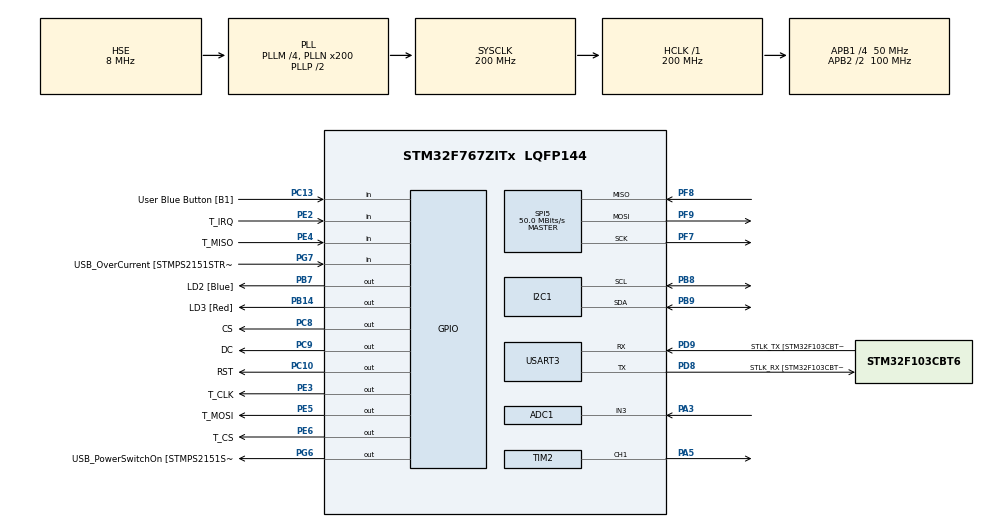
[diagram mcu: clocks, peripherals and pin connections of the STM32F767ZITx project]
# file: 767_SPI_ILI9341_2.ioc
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ADC1.Channel-0\#ChannelRegularConversion=ADC_CHANNEL_3
ADC1.ContinuousConvMode=ENABLE
ADC1.DMAContinuousRequests=ENABLE
ADC1.NbrOfConversionFlag=1
ADC1.Rank-0\#ChannelRegularConversion=1
ADC1.SamplingTime-0\#ChannelRegularConversion=ADC_SAMPLETIME_480CYCLES
ADC1.ScanConvMode=ADC_SCAN_ENABLE
ADC1.master=1
CORTEX_M7.ART_ACCLERATOR_ENABLE=1
CORTEX_M7.CPU_DCache=Enabled
CORTEX_M7.CPU_ICache=Enabled
CORTEX_M7.PREFETCH_ENABLE=1
Dma.ADC1.0.Direction=DMA_PERIPH_TO_MEMORY
Dma.ADC1.0.FIFOMode=DMA_FIFOMODE_DISABLE
Dma.ADC1.0.Instance=DMA2_Stream0
Dma.ADC1.0.MemDataAlignment=DMA_MDATAALIGN_HALFWORD
Dma.ADC1.0.MemInc=DMA_MINC_ENABLE
Dma.ADC1.0.Mode=DMA_CIRCULAR
Dma.ADC1.0.PeriphDataAlignment=DMA_PDATAALIGN_HALFWORD
Dma.ADC1.0.PeriphInc=DMA_PINC_DISABLE
Dma.ADC1.0.Priority=DMA_PRIORITY_LOW
Dma.Request0=ADC1
Dma.Request1=TIM2_CH1
Dma.TIM2_CH1.1.Direction=DMA_PERIPH_TO_MEMORY
Dma.TIM2_CH1.1.FIFOMode=DMA_FIFOMODE_DISABLE
Dma.TIM2_CH1.1.Instance=DMA1_Stream5
Dma.TIM2_CH1.1.MemDataAlignment=DMA_MDATAALIGN_WORD
Dma.TIM2_CH1.1.MemInc=DMA_MINC_ENABLE
Dma.TIM2_CH1.1.Mode=DMA_NORMAL
Dma.TIM2_CH1.1.PeriphDataAlignment=DMA_PDATAALIGN_WORD
Dma.TIM2_CH1.1.PeriphInc=DMA_PINC_DISABLE
Dma.TIM2_CH1.1.Priority=DMA_PRIORITY_LOW
I2C1.Timing=0x00C0EAFF
Mcu.Family=STM32F7
Mcu.Name=STM32F767ZITx
Mcu.Package=LQFP144
NVIC.ADC_IRQn=true\:1\:0\:true\:false\:true\:true\:true\:true
NVIC.DMA1_Stream5_IRQn=true\:0\:0\:false\:false\:true\:false\:true\:true
NVIC.DMA2_Stream0_IRQn=true\:0\:0\:false\:false\:true\:false\:true\:true
NVIC.PriorityGroup=NVIC_PRIORITYGROUP_2
NVIC.TIM1_UP_TIM10_IRQn=true\:1\:0\:true\:false\:true\:true\:true\:true
NVIC.TIM2_IRQn=true\:1\:0\:true\:false\:true\:true\:true\:true
PA1.GPIO_Label=RMII_REF_CLK [LAN8742A-CZ-TR_REFCLK0]
PA1.Signal=ETH_REF_CLK
PA13.GPIO_Label=TMS
PA13.Mode=Serial_Wire
PA13.Signal=SYS_JTMS-SWDIO
PA14.GPIO_Label=TCK
PA14.Mode=Serial_Wire
PA14.Signal=SYS_JTCK-SWCLK
PA2.GPIO_Label=RMII_MDIO [LAN8742A-CZ-TR_MDIO]
PA2.Signal=ETH_MDIO
PA3.Signal=ADCx_IN3
PA5.GPIO_Speed=GPIO_SPEED_FREQ_VERY_HIGH
PA5.Signal=S_TIM2_CH1_ETR
PA7.GPIO_Label=RMII_CRS_DV [LAN8742A-CZ-TR_CRS_DV]
PA7.Signal=ETH_CRS_DV
PB13.GPIO_Label=RMII_TXD1 [LAN8742A-CZ-TR_TXD1]
PB13.Signal=ETH_TXD1
PB14.GPIO_Label=LD3 [Red]
PB14.Signal=GPIO_Output
PB3.GPIO_Label=SWO
PB3.Signal=SYS_JTDO-SWO
PB7.GPIO_Label=LD2 [Blue]
PB7.Signal=GPIO_Output
PB8.Mode=I2C
PB8.Signal=I2C1_SCL
PB9.Mode=I2C
PB9.Signal=I2C1_SDA
PC1.GPIO_Label=RMII_MDC [LAN8742A-CZ-TR_MDC]
PC1.Signal=ETH_MDC
PC10.GPIO_Label=RST
PC10.GPIO_Speed=GPIO_SPEED_FREQ_VERY_HIGH
PC10.Signal=GPIO_Output
PC13.GPIO_Label=User Blue Button [B1]
PC13.Signal=GPIO_Input
PC14/OSC32_IN.Mode=LSE-External-Oscillator
PC14/OSC32_IN.Signal=RCC_OSC32_IN
PC15/OSC32_OUT.Mode=LSE-External-Oscillator
PC15/OSC32_OUT.Signal=RCC_OSC32_OUT
PC4.GPIO_Label=RMII_RXD0 [LAN8742A-CZ-TR_RXD0]
PC4.Signal=ETH_RXD0
PC5.GPIO_Label=RMII_RXD1 [LAN8742A-CZ-TR_RXD1]
PC5.Signal=ETH_RXD1
PC8.GPIO_Label=CS
PC8.GPIO_Speed=GPIO_SPEED_FREQ_VERY_HIGH
PC8.Signal=GPIO_Output
PC9.GPIO_Label=DC
PC9.GPIO_Speed=GPIO_SPEED_FREQ_VERY_HIGH
PC9.Signal=GPIO_Output
PD8.GPIO_Label=STLK_RX [STM32F103CBT6_PA3]
PD8.Mode=Asynchronous
PD8.Signal=USART3_TX
PD9.GPIO_Label=STLK_TX [STM32F103CBT6_PA2]
PD9.Mode=Asynchronous
PD9.Signal=USART3_RX
PE2.GPIO_Label=T_IRQ
PE2.Signal=GPIO_Input
PE3.GPIO_Label=T_CLK
PE3.GPIO_Speed=GPIO_SPEED_FREQ_VERY_HIGH
PE3.Signal=GPIO_Output
PE4.GPIO_Label=T_MISO
PE4.Signal=GPIO_Input
PE5.GPIO_Label=T_MOSI
PE5.GPIO_Speed=GPIO_SPEED_FREQ_VERY_HIGH
PE5.Signal=GPIO_Output
PE6.GPIO_Label=T_CS
PE6.GPIO_Speed=GPIO_SPEED_FREQ_VERY_HIGH
PE6.Signal=GPIO_Output
PF7.Mode=Full_Duplex_Master
PF7.Signal=SPI5_SCK
PF8.Mode=Full_Duplex_Master
PF8.Signal=SPI5_MISO
PF9.Mode=Full_Duplex_Master
PF9.Signal=SPI5_MOSI
PG11.GPIO_Label=RMII_TX_EN [LAN8742A-CZ-TR_TXEN]
PG11.Signal=ETH_TX_EN
PG13.GPIO_Label=RMII_TXD0 [LAN8742A-CZ-TR_TXD0]
PG13.Signal=ETH_TXD0
PG6.GPIO_Label=USB_PowerSwitchOn [STMPS2151STR_EN]
PG6.Signal=GPIO_Output
PG7.GPIO_Label=USB_OverCurrent [STMPS2151STR_FAULT]
PG7.Signal=GPIO_Input
PH0/OSC_IN.GPIO_Label=MCO [STM32F103CBT6_PA8]
PH0/OSC_IN.Mode=HSE-External-Clock-Source
PH0/OSC_IN.Signal=RCC_OSC_IN
PH1/OSC_OUT.Mode=HSE-External-Clock-Source
PH1/OSC_OUT.Signal=RCC_OSC_OUT
ProjectManager.HeapSize=0x200
ProjectManager.StackSize=0x400
ProjectManager.TargetToolchain=STM32CubeIDE
RCC.48MHZClocksFreq_Value=24000000
RCC.AHBFreq_Value=200000000
RCC.APB1CLKDivider=RCC_HCLK_DIV4
RCC.APB1Freq_Value=50000000
RCC.APB1TimFreq_Value=100000000
RCC.APB2CLKDivider=RCC_HCLK_DIV2
RCC.APB2Freq_Value=100000000
RCC.APB2TimFreq_Value=200000000
RCC.CortexFreq_Value=200000000
RCC.HCLKFreq_Value=200000000
RCC.HSE_VALUE=8000000
RCC.HSI_VALUE=16000000
RCC.PLLM=4
RCC.PLLMUL=RCC_PLL_MUL9
RCC.PLLN=200
RCC.PLLQ=9
RCC.PLLSourceVirtual=RCC_PLLSOURCE_HSE
RCC.PRESCALERUSB=RCC_USBCLKSOURCE_PLL_DIV1_5
RCC.SYSCLKFreq_VALUE=200000000
RCC.SYSCLKSource=RCC_SYSCLKSOURCE_PLLCLK
RCC.SYSCLKSourceVirtual=RCC_SYSCLKSOURCE_PLLCLK
RCC.USBFreq_Value=44444444.44444445
RCC.VCOOutputFreq_Value=400000000
SH.ADCx_IN3.0=ADC1_IN3,IN3
SH.S_TIM2_CH1_ETR.0=TIM2_CH1,PWM Generation1 CH1
SPI5.CalculateBaudRate=50.0 MBits/s
SPI5.DataSize=SPI_DATASIZE_8BIT
SPI5.Direction=SPI_DIRECTION_2LINES
SPI5.Mode=SPI_MODE_MASTER
SPI5.NSSPMode=SPI_NSS_PULSE_DISABLE
SPI5.VirtualType=VM_MASTER
TIM1.ClockDivision=TIM_CLOCKDIVISION_DIV1
TIM1.Period=10000-1
TIM1.Prescaler=20000-1
TIM2.Channel-PWM\ Generation1\ CH1=TIM_CHANNEL_1
TIM2.Period=1000-1
TIM2.Prescaler=200-1
USART3.VirtualMode-Asynchronous=VM_ASYNC
VP_RNG_VS_RNG.Mode=RNG_Activate
VP_TIM1_VS_ClockSourceINT.Mode=Internal
VP_TIM2_VS_ClockSourceINT.Mode=Internal
board=NUCLEO-F767ZI

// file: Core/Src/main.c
/* USER CODE BEGIN Header */

/**

  ******************************************************************************

  * @file           : main.c

  * @brief          : Main program body

  ******************************************************************************

  * @attention

  *

  * <h2><center>&copy; Copyright (c) 2021 STMicroelectronics.

  * All rights reserved.</center></h2>

  *

  * This software component is licensed by ST under BSD 3-Clause license,

  * the "License"; You may not use this file except in compliance with the

  * License. You may obtain a copy of the License at:

  * opensource.org/licenses/BSD-3-Clause

  *

  ******************************************************************************

  */

/* USER CODE END Header */
#include "main.h"
#include "adc.h"
#include "dma.h"
#include "i2c.h"
#include "rng.h"
#include "spi.h"
#include "tim.h"
#include "usart.h"
#include "gpio.h"

/* USER CODE BEGIN Includes */

#include "stdio.h"
#include "elon.h"
#include "pic_connv.h"
#include "ILI9341_Touchscreen.h"

#include "ILI9341_STM32_Driver.h"

#include "ILI9341_GFX.h"

#include "snow_tiger.h"

/* USER CODE END Includes */

/* USER CODE BEGIN PV */

/* Private variables ---------------------------------------------------------*/

// Global Variables for Colors to be used in helper functions

uint16_t COL_MIX   = 0xC418;

uint16_t COL_LT_RED   = 0xFDB8;

uint16_t COL_LT_GREEN = 0xCFFA;

uint16_t COL_LT_BLUE  = 0xBDF7;

// Variables to store current percentages

uint8_t val_red = 100; // อิงจากหน้าจอที่คุณส่งมา
uint8_t val_green = 50;
uint8_t val_blue = 70;
float h=30.0, t=40.0; // เก็บค่า Humidity และ Temperature
uint8_t dataBuffer[8];
uint8_t cmdBuffer[3];
char str[50];

uint8_t Page = 1;
uint8_t count = 0;
volatile uint16_t adc_values[1];
/* USER CODE END PV */

void SystemClock_Config(void);
/* USER CODE BEGIN PFP */

/* Private function prototypes -----------------------------------------------*/

void Update_Bar(uint16_t y_center, uint16_t color_fill, uint16_t color_bg, uint8_t percentage);
uint16_t CRC16_2(uint8_t *ptr, uint8_t len);
uint16_t Mix_RGB565(uint8_t r_pct, uint8_t g_pct, uint8_t b_pct);
/* USER CODE END PFP */

/* USER CODE BEGIN 0 */

/*

 * Helper Function: Updates the Progress Bar and Text

 * y_center: The Y coordinate of the circle (row center)

 * color_fill: Active color (RED, GREEN, BLUE)

 * color_bg: Background color (Light versions)

 * percentage: 0-100

 */

void Update_Bar(uint16_t y_center, uint16_t color_fill, uint16_t color_bg, uint8_t percentage)

{

	// Calculate Dimensions

	// Total bar width = 150px (from X=60 to X=210)

	uint16_t total_width = 150;

	uint16_t filled_width = (total_width * percentage) / 100;

	uint16_t empty_width = total_width - filled_width;

	uint16_t bar_y_start = y_center - 15; // Box height 30, so center - 15

	// 1. Draw Filled Part

	if(filled_width > 0) {

		ILI9341_Draw_Rectangle(60, bar_y_start, filled_width, 30, color_fill);

	}

	// 2. Draw Empty Part

	if(empty_width > 0) {

		ILI9341_Draw_Rectangle(60 + filled_width, bar_y_start, empty_width, 30, color_bg);

	}

	// 3. Update Text

	// Clear previous text area first (White rectangle behind text)
	// พิกัด X=220 ปลอดภัยจากอาการ Wrap-around แน่นอน

	ILI9341_Draw_Filled_Rectangle_Coord(220, y_center-10, 319, y_center+15, WHITE);

	char buf[10];

	sprintf(buf, "%d%%", percentage);

	ILI9341_Draw_Text(buf, 220, y_center-2, BLACK, 1.8, WHITE); // ปรับ size เป็น 2 ให้ตรงสเปคไลบรารี่

}

uint16_t Mix_RGB565(uint8_t r_pct, uint8_t g_pct, uint8_t b_pct) {
    // แปลง 0-100 เป็นช่วง 0-31 (สำหรับ Red/Blue) และ 0-63 (สำหรับ Green)
    uint16_t r = (r_pct * 31) / 100;
    uint16_t g = (g_pct * 63) / 100;
    uint16_t b = (b_pct * 31) / 100;

    // รวมค่าเข้าด้วยกันตามโครงสร้าง RGB565: [RRRRRGGGGGGBBBBB]
    return (uint16_t)((r << 11) | (g << 5) | b);
}

/* USER CODE END 0 */

int main(void)
{

  /* Enable the CPU Cache */

  /* Enable I-Cache---------------------------------------------------------*/
  SCB_EnableICache();

  /* Enable D-Cache---------------------------------------------------------*/
  SCB_EnableDCache();

  /* MCU Configuration--------------------------------------------------------*/

  /* Reset of all peripherals, Initializes the Flash interface and the Systick. */
  HAL_Init();

  /* Configure the system clock */
  SystemClock_Config();

  /* Initialize all configured peripherals */
  MX_GPIO_Init();
  MX_DMA_Init();
  MX_USART3_UART_Init();
  MX_SPI5_Init();
  MX_TIM1_Init();
  MX_RNG_Init();
  MX_I2C1_Init();
  MX_ADC1_Init();
  MX_TIM2_Init();
  /* USER CODE BEGIN 2 */
  ILI9341_Init();//initial driver setup to drive ili9341
  cmdBuffer[0] = 0x03; // Read Function
  cmdBuffer[1] = 0x00; // Start Address
  cmdBuffer[2] = 0x04; // Read 4 Registers (T & H)
  // ตัวแปรที่ใช้รับ, จำนวนข้อมูล
  HAL_ADC_Start_DMA(&hadc1, (uint32_t*)adc_values, 1);
  HAL_TIM_PWM_Start(&htim2, TIM_CHANNEL_1); // ต้องสั่ง Start ครั้งเดียวก่อนเข้า Loop
  HAL_TIM_Base_Start_IT(&htim2);
  /* USER CODE END 2 */

  /* Infinite loop */
  while (1)
    {

    /* USER CODE BEGIN 3 */

  	  switch (Page){
  	  case 1:
  		  // ---------------------------------------------------------

  		  // INITIAL UI DRAWING (Static Parts)

  		  // ---------------------------------------------------------

  		  ILI9341_Fill_Screen(WHITE);

  		  ILI9341_Set_Rotation(SCREEN_HORIZONTAL_1);

  		  // --- TOP ROW ---
  		  COL_MIX = Mix_RGB565(val_red, val_green, val_blue);
  		  ILI9341_Draw_Filled_Circle(120, 35, 20, COL_MIX);

  		  // --- ROW 1: RED (Initial) ---

  		  ILI9341_Draw_Filled_Circle(30, 90, 15, RED);

  		  Update_Bar(90, RED, COL_LT_RED, val_red);

  		  // --- ROW 2: GREEN (Initial) ---

  		  ILI9341_Draw_Filled_Circle(30, 145, 15, GREEN);

  		  Update_Bar(145, GREEN, COL_LT_GREEN, val_green);

  		  // --- ROW 3: BLUE (Initial) ---

  		  ILI9341_Draw_Filled_Circle(30, 200, 15, BLUE);

  		  Update_Bar(200, BLUE, COL_LT_BLUE, val_blue);

  		  // ---------------------------------------------------------

  		  // TOUCH LOOP

  		  // ---------------------------------------------------------
  		  uint32_t last_sensor_time = 0;
  		  while(1)

  		  {
  			  if (HAL_GetTick() - last_sensor_time > 3000) {

  					  // --- ส่วนของอาจารย์: อ่านค่าจาก I2C ---
  					  HAL_I2C_Master_Transmit(&hi2c1, 0x5c<<1, cmdBuffer, 3, 200); // Wake up
  					  HAL_I2C_Master_Transmit(&hi2c1, 0x5c<<1, cmdBuffer, 3, 200); // Send command
  					  HAL_Delay(1);
  					  HAL_I2C_Master_Receive(&hi2c1, 0x5c<<1, dataBuffer, 8, 200); // Receive data

  					  uint16_t Rcrc = dataBuffer[7] << 8 | dataBuffer[6];
  					  if (Rcrc == CRC16_2(dataBuffer, 6)) {
  						  // คำนวณค่า Temp
  						  uint16_t temperature = ((dataBuffer[4] & 0x7F) << 8) + dataBuffer[5];
  						  t = temperature / 10.0;
  						  if ((dataBuffer[4] & 0x80) >> 7 == 1) t *= -1;

  						  // คำนวณค่า Humid
  						  uint16_t humidity = (dataBuffer[2] << 8) + dataBuffer[3];
  						  h = humidity / 10.0;

  						  // --- ส่วนแสดงผลบนหน้าจอ TFT ---
  						  // 1. เคลียร์ค่าเก่า (วาดสี่เหลี่ยมขาวทับ)
  						  ILI9341_Draw_Filled_Rectangle_Coord(10, 20, 90, 50, WHITE);   // พื้นที่ Temp
  						  ILI9341_Draw_Filled_Rectangle_Coord(160, 20, 310, 50, WHITE);  // พื้นที่ Humid

  						  // 2. พิมพ์ค่าใหม่ลงไป (ใช้ %.1f ตามของเดิมคุณได้เลย)
  						  char t_str[15], h_str[15];
  						  sprintf(t_str, "%.1f C", t);
  						  sprintf(h_str, "%.1f %%RH", h);

  						  ILI9341_Draw_Text(t_str, 10, 25, BLACK, 2, WHITE);
  						  ILI9341_Draw_Text(h_str, 160, 25, BLACK, 2, WHITE);
  					  }
  					  last_sensor_time = HAL_GetTick();
  				  }

  			  // Poll for touch

  			  if(TP_Touchpad_Pressed())

  			  {

  				  HAL_GPIO_WritePin(GPIOB, LD3_Pin|LD2_Pin, GPIO_PIN_SET);

  				  uint16_t pos[2];

  				  // Read Coordinates (Assumes Library returns mapped X/Y)

  				  if(TP_Read_Coordinates(pos) == TOUCHPAD_DATA_OK)

  				  {

  					  uint16_t x = pos[1];

  					  uint16_t y = pos[0];

  					  // --- CHECK HITBOXES ---

  					  // Circles are at X=30. We check touch X between 0 and 60.

  					  // Note: Adjust '60' if touch calibration is slightly off.

  					  //debug touch point
//  					  char debug_msg[30];
//  					  sprintf(debug_msg, "X:%dY:%d", x, y);
//  					  ILI9341_Draw_Text(debug_msg, 220, 220, BLUE, 1, WHITE);

  					  if (x < 45) // User touched the Left side (Button area)

  					  {

  						  // 1. RED BUTTON (Center Y=90) -> Hitbox 70 to 110

  						  // --- 1. RED BUTTON ---
  						  if (y > 140 && y < 170) {
  							  val_red += 10;
  							  if(val_red > 100) val_red = 0;
  							  Update_Bar(90, RED, COL_LT_RED, val_red);

  							  // อัปเดตสีม่วง (ตัวผสม)
  							  COL_MIX = Mix_RGB565(val_red, val_green, val_blue);
  							  ILI9341_Draw_Filled_Circle(120, 35, 20, COL_MIX);

  							  HAL_Delay(200);
  						  }

  						  // --- 2. GREEN BUTTON ---
  						  else if (y > 90 && y < 120) {
  							  val_green += 10;
  							  if(val_green > 100) val_green = 0;
  							  Update_Bar(145, GREEN, COL_LT_GREEN, val_green);

  							  // อัปเดตสีม่วง (ตัวผสม)
  							  COL_MIX = Mix_RGB565(val_red, val_green, val_blue);
  							  ILI9341_Draw_Filled_Circle(120, 35, 20, COL_MIX);

  							  HAL_Delay(200);
  						  }

  						  // --- 3. BLUE BUTTON ---
  						  else if (y > 30 && y < 60) {
  							  val_blue += 10;
  							  if(val_blue > 100) val_blue = 0;
  							  Update_Bar(200, BLUE, COL_LT_BLUE, val_blue);

  							  // อัปเดตสีม่วง (ตัวผสม)
  							  COL_MIX = Mix_RGB565(val_red, val_green, val_blue);
  							  ILI9341_Draw_Filled_Circle(120, 35, 20, COL_MIX);

  							  HAL_Delay(200);
  						  }

  					  }
  					  else if (x>=100 && x<=140){
  						  if (y>=190 && y<230){
  							  Page = 2;
  							  HAL_Delay(500);
  							  break;
  						  }
  					  }

  				  }

  			  }

  			  else

  			  {

  				  HAL_GPIO_WritePin(GPIOB, LD3_Pin|LD2_Pin, GPIO_PIN_RESET);

  			  }

  			  // Small delay to prevent CPU hogging

  			  HAL_Delay(10);

  		  }
  	  case 2:
  		  HAL_GPIO_WritePin(GPIOB, LD3_Pin|LD2_Pin, GPIO_PIN_RESET);
  		  HAL_TIM_Base_Start_IT(&htim1);
  		  // 1. วาดรูปครั้งเดียวตอนเข้าหน้านี้
  		  ILI9341_Fill_Screen(WHITE);
  		  // วาดรูปของคุณ (ถ้าภาพเป็น 128x128 ฟังก์ชันเดิมอาจจะดึงค่าจนล้น ให้ระวังจุดนี้ด้วยครับ)
  		  ILI9341_Draw_Image((const char*)ME128x128, SCREEN_HORIZONTAL_1,20,50,95,128);
  		  ILI9341_Draw_Text("Group No.53", 130, 70, COL_MIX, 2, WHITE);

  		  ILI9341_Draw_Text("Pathorn", 130, 90, COL_MIX, 2, WHITE);

  		  ILI9341_Draw_Text("Somsaen", 130, 110, COL_MIX, 2, WHITE);

  		  ILI9341_Draw_Text("67015105", 130, 130, COL_MIX, 2, WHITE);
  		  // 2. ค้างไว้อยู่ในหน้านี้จนกว่าจะมีการเปลี่ยน Page
  		  while(Page == 2)
  		  {
  			  if(TP_Touchpad_Pressed())
  			  {
  				  // ถ้ากดหน้าจอ ให้เปลี่ยนกลับไปหน้า 1
  				  Page = 1;
  				  HAL_TIM_Base_Stop_IT(&htim1);
  				  count = 0;
  				  HAL_Delay(500); // หน่วงเวลาเล็กน้อยกันการกดเบิ้ล
  			  }
  			  // ไม่ต้องวาดรูปซ้ำในนี้ หน้าจอจะนิ่งและแสดงรูปค้างไว้
  			  HAL_Delay(50);
  		  }
  		  break;
  	  }
  	  }
  /* USER CODE END 3 */
}

void SystemClock_Config(void)
{
  RCC_OscInitTypeDef RCC_OscInitStruct = {0};
  RCC_ClkInitTypeDef RCC_ClkInitStruct = {0};

  /** Configure LSE Drive Capability
  */
  HAL_PWR_EnableBkUpAccess();

  /** Configure the main internal regulator output voltage
  */
  __HAL_RCC_PWR_CLK_ENABLE();
  __HAL_PWR_VOLTAGESCALING_CONFIG(PWR_REGULATOR_VOLTAGE_SCALE1);

  /** Initializes the RCC Oscillators according to the specified parameters
  * in the RCC_OscInitTypeDef structure.
  */
  RCC_OscInitStruct.OscillatorType = RCC_OSCILLATORTYPE_HSE;
  RCC_OscInitStruct.HSEState = RCC_HSE_BYPASS;
  RCC_OscInitStruct.PLL.PLLState = RCC_PLL_ON;
  RCC_OscInitStruct.PLL.PLLSource = RCC_PLLSOURCE_HSE;
  RCC_OscInitStruct.PLL.PLLM = 4;
  RCC_OscInitStruct.PLL.PLLN = 200;
  RCC_OscInitStruct.PLL.PLLP = RCC_PLLP_DIV2;
  RCC_OscInitStruct.PLL.PLLQ = 9;
  RCC_OscInitStruct.PLL.PLLR = 2;
  if (HAL_RCC_OscConfig(&RCC_OscInitStruct) != HAL_OK)
  {
    Error_Handler();
  }

  /** Activate the Over-Drive mode
  */
  if (HAL_PWREx_EnableOverDrive() != HAL_OK)
  {
    Error_Handler();
  }

  /** Initializes the CPU, AHB and APB buses clocks
  */
  RCC_ClkInitStruct.ClockType = RCC_CLOCKTYPE_HCLK|RCC_CLOCKTYPE_SYSCLK
                              |RCC_CLOCKTYPE_PCLK1|RCC_CLOCKTYPE_PCLK2;
  RCC_ClkInitStruct.SYSCLKSource = RCC_SYSCLKSOURCE_PLLCLK;
  RCC_ClkInitStruct.AHBCLKDivider = RCC_SYSCLK_DIV1;
  RCC_ClkInitStruct.APB1CLKDivider = RCC_HCLK_DIV4;
  RCC_ClkInitStruct.APB2CLKDivider = RCC_HCLK_DIV2;

  if (HAL_RCC_ClockConfig(&RCC_ClkInitStruct, FLASH_LATENCY_6) != HAL_OK)
  {
    Error_Handler();
  }
}

/* USER CODE BEGIN 4 */
uint16_t CRC16_2(uint8_t *ptr, uint8_t length)
{
    uint16_t crc = 0xFFFF; //
    uint8_t s = 0x00;      //
    while (length--)
    {
        crc ^= *ptr++;     //
        for (s = 0; s < 8; s++)
        {
            if ((crc & 0x01) != 0)
            {
                crc >>= 1;   //
                crc ^= 0xA001; //
            }
            else crc >>= 1;  //
        }
    }
    return crc; //
}
/* USER CODE BEGIN 4 */
void HAL_TIM_PeriodElapsedCallback(TIM_HandleTypeDef *htim)
{
    // --- ส่วนคุมระบบหน้าจอ (TIM1) ---
    if (htim->Instance == TIM1) {
        // เปลี่ยนจากการใช้ HAL_Delay เป็นการนับรอบแทน
        count++;
        if (count >= 5) { // สมมติ Interrupt มาทุก 10ms, 50 รอบ = 0.5s
            count = 0;
            Page = 1;
            HAL_TIM_Base_Stop_IT(&htim1);
        }
    }

    // --- ส่วนปรับ Backlight เบื้องหลัง (TIM2) ---
    if (htim->Instance == TIM2) {
        // อ่านค่า ADC และปรับ PWM ทันที (ทำงานเบื้องหลังทุกหน้า)
        uint32_t duty_pct = ((adc_values[0] * 80) / 4095) + 20;

        // ตรวจสอบให้แน่ใจว่าใช้ Timer ตัวที่ต่อกับขา Backlight จริงๆ
        __HAL_TIM_SET_COMPARE(&htim2, TIM_CHANNEL_1, duty_pct * 10);
    }
}
/* USER CODE END 4 */

void Error_Handler(void)
{
  while(1)
  {
  }
}
